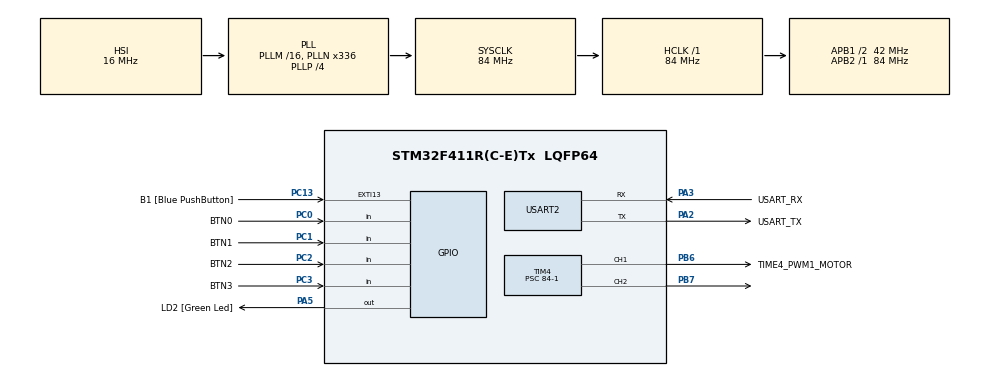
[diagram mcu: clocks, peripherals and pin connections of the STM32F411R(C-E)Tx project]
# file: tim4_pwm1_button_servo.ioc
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Mcu.Family=STM32F4
Mcu.Name=STM32F411R(C-E)Tx
Mcu.Package=LQFP64
NVIC.PriorityGroup=NVIC_PRIORITYGROUP_0
NVIC.TIM4_IRQn=true\:0\:0\:false\:false\:true\:true\:true\:true
PA13.GPIO_Label=TMS
PA13.Mode=Serial_Wire
PA13.Signal=SYS_JTMS-SWDIO
PA14.GPIO_Label=TCK
PA14.Mode=Serial_Wire
PA14.Signal=SYS_JTCK-SWCLK
PA2.GPIO_Label=USART_TX
PA2.Mode=Asynchronous
PA2.Signal=USART2_TX
PA3.GPIO_Label=USART_RX
PA3.Mode=Asynchronous
PA3.Signal=USART2_RX
PA5.GPIO_Label=LD2 [Green Led]
PA5.Signal=GPIO_Output
PB3.GPIO_Label=SWO
PB3.Signal=SYS_JTDO-SWO
PB6.GPIO_Label=TIME4_PWM1_MOTOR
PB6.Signal=S_TIM4_CH1
PB7.Signal=S_TIM4_CH2
PC0.GPIO_Label=BTN0
PC0.Signal=GPIO_Input
PC1.GPIO_Label=BTN1
PC1.Signal=GPIO_Input
PC13-ANTI_TAMP.GPIO_Label=B1 [Blue PushButton]
PC13-ANTI_TAMP.GPIO_ModeDefaultEXTI=GPIO_MODE_IT_FALLING
PC13-ANTI_TAMP.Signal=GPXTI13
PC14-OSC32_IN.Signal=RCC_OSC32_IN
PC15-OSC32_OUT.Signal=RCC_OSC32_OUT
PC2.GPIO_Label=BTN2
PC2.Signal=GPIO_Input
PC3.GPIO_Label=BTN3
PC3.Signal=GPIO_Input
PH0\ -\ OSC_IN.Signal=RCC_OSC_IN
PH1\ -\ OSC_OUT.Signal=RCC_OSC_OUT
ProjectManager.HeapSize=0x200
ProjectManager.StackSize=0x400
ProjectManager.TargetToolchain=STM32CubeIDE
RCC.48MHZClocksFreq_Value=84000000
RCC.AHBFreq_Value=84000000
RCC.APB1CLKDivider=RCC_HCLK_DIV2
RCC.APB1Freq_Value=42000000
RCC.APB1TimFreq_Value=84000000
RCC.APB2Freq_Value=84000000
RCC.APB2TimFreq_Value=84000000
RCC.CortexFreq_Value=84000000
RCC.FLatency-AdvancedSettings=FLASH_LATENCY_2
RCC.HCLKFreq_Value=84000000
RCC.HSE_VALUE=8000000
RCC.HSI_VALUE=16000000
RCC.LSE_VALUE=32768
RCC.PLLN=336
RCC.PLLP=RCC_PLLP_DIV4
RCC.SYSCLKFreq_VALUE=84000000
RCC.SYSCLKSource=RCC_SYSCLKSOURCE_PLLCLK
RCC.VCOOutputFreq_Value=336000000
SH.S_TIM4_CH1.0=TIM4_CH1,PWM Generation1 CH1
SH.S_TIM4_CH2.0=TIM4_CH2,PWM Generation2 CH2
TIM4.AutoReloadPreload=TIM_AUTORELOAD_PRELOAD_ENABLE
TIM4.Channel-PWM\ Generation1\ CH1=TIM_CHANNEL_1
TIM4.Channel-PWM\ Generation2\ CH2=TIM_CHANNEL_2
TIM4.Period=20000-1
TIM4.Prescaler=84-1
TIM4.Pulse-PWM\ Generation1\ CH1=0
USART2.VirtualMode=VM_ASYNC
board=NUCLEO-F411RE

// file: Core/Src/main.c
/* USER CODE BEGIN Header */
/**
  ******************************************************************************
  * @file           : main.c
  * @brief          : Main program body
  ******************************************************************************
  * @attention
  *
  * Copyright (c) 2025 STMicroelectronics.
  * All rights reserved.
  *
  * This software is licensed under terms that can be found in the LICENSE file
  * in the root directory of this software component.
  * If no LICENSE file comes with this software, it is provided AS-IS.
  *
  ******************************************************************************
  */
/* USER CODE END Header */
#include "main.h"

/* USER CODE BEGIN PD */
#ifdef __GNUC__
/* With GCC, small printf (option LD Linker->Libraries->Small printf
   set to 'Yes') calls __io_putchar() */
#define PUTCHAR_PROTOTYPE int __io_putchar(int ch)
#else
#define PUTCHAR_PROTOTYPE int fputc(int ch, FILE *f)
#endif /* __GNUC__ */
/* USER CODE END PD */

TIM_HandleTypeDef htim4;

UART_HandleTypeDef huart2;

/* USER CODE BEGIN PV */
volatile int time3SecFlag = 0;
volatile unsigned int time3SecCnt = 0;
volatile unsigned int time3Cnt = 0;
volatile int time3CntFlag = 1;
volatile int time3_100msFlag = 0;
unsigned long debounceDelay = 10;
unsigned long lastDebounceTime = 0;
/* USER CODE END PV */

void SystemClock_Config(void);
static void MX_GPIO_Init(void);
static void MX_USART2_UART_Init(void);
static void MX_TIM4_Init(void);
/* USER CODE BEGIN PFP */
int getKeyNum();
/* USER CODE END PFP */

int main(void)
{

  /* USER CODE BEGIN 1 */
	int pluse = 1000;
	int keyNum = 0;
  /* USER CODE END 1 */

  /* MCU Configuration--------------------------------------------------------*/

  /* Reset of all peripherals, Initializes the Flash interface and the Systick. */
  HAL_Init();

  /* Configure the system clock */
  SystemClock_Config();

  /* Initialize all configured peripherals */
  MX_GPIO_Init();
  MX_USART2_UART_Init();
  MX_TIM4_Init();
  /* USER CODE BEGIN 2 */
  if(HAL_TIM_Base_Start_IT(&htim4) != HAL_OK)
	  Error_Handler();
  if(HAL_TIM_PWM_Start(&htim4, TIM_CHANNEL_1) != HAL_OK)
	  Error_Handler();
  if(HAL_TIM_PWM_Start(&htim4, TIM_CHANNEL_2) != HAL_OK)
	  Error_Handler();
  printf("time4_pwm1_button_servo start!\r\n");
  lastDebounceTime = HAL_GetTick();
  /* USER CODE END 2 */

  /* Infinite loop */
  /* USER CODE BEGIN WHILE */
  while (1)
  {
	  if(time3SecFlag)
	  {
		  time3SecFlag = 0;
		  HAL_GPIO_TogglePin(LD2_GPIO_Port, LD2_Pin);
		  //printf("time3SecCnt : %d\r\n", time3SecCnt);
	  }

	  if((HAL_GetTick() - lastDebounceTime) > debounceDelay)
	  {
		  keyNum = getKeyNum();
		  lastDebounceTime = HAL_GetTick();
		  if(keyNum != 0)
		  {

			  printf("keyNum : %d\r\n", keyNum);
//			  if((pluse == 0 && keyNum == 1) || (pluse == 1000 && keyNum == 2))
//			 		continue;
//			  if((pluse == 0 && keyNum == 3) || (pluse == 1000 && keyNum == 4))
//			 		continue;

			  if(keyNum == 1)
			  {
				  pluse = 500;
			  }
			  else if(keyNum == 2)
			  {
				  pluse = 2500;
			  }
			  else if(keyNum == 3 && pluse > 0)
			  {
				  pluse -= 200;
			  }
			  else if(keyNum == 4 && pluse < 1000)
			  {
				  pluse += 200;
			  }
			  __HAL_TIM_SetCompare(&htim4,TIM_CHANNEL_2, (pluse-1)<=0?0:pluse-1);
			  printf("pluse : %d\r\n", pluse);
		  }
	  }

#if 0
	  if(time3_100msFlag)
	  {
		  time3_100msFlag = 0;
		  if(pluse < 1000)
			  pluse += 5;
		  else
			  pluse = 1;
		  __HAL_TIM_SetCompare(&htim4, TIM_CHANNEL_1, pluse); // pwm 값 바꿔주는 함수
	  }
#endif
//	  HAL_GPIO_WritePin(LD2_GPIO_Port, GPIO_PIN_5, HAL_GPIO_ReadPin(BTN3_GPIO_Port, BTN3_Pin));

    /* USER CODE END WHILE */

  }
}

void SystemClock_Config(void)
{
  RCC_OscInitTypeDef RCC_OscInitStruct = {0};
  RCC_ClkInitTypeDef RCC_ClkInitStruct = {0};

  /** Configure the main internal regulator output voltage
  */
  __HAL_RCC_PWR_CLK_ENABLE();
  __HAL_PWR_VOLTAGESCALING_CONFIG(PWR_REGULATOR_VOLTAGE_SCALE1);

  /** Initializes the RCC Oscillators according to the specified parameters
  * in the RCC_OscInitTypeDef structure.
  */
  RCC_OscInitStruct.OscillatorType = RCC_OSCILLATORTYPE_HSI;
  RCC_OscInitStruct.HSIState = RCC_HSI_ON;
  RCC_OscInitStruct.HSICalibrationValue = RCC_HSICALIBRATION_DEFAULT;
  RCC_OscInitStruct.PLL.PLLState = RCC_PLL_ON;
  RCC_OscInitStruct.PLL.PLLSource = RCC_PLLSOURCE_HSI;
  RCC_OscInitStruct.PLL.PLLM = 16;
  RCC_OscInitStruct.PLL.PLLN = 336;
  RCC_OscInitStruct.PLL.PLLP = RCC_PLLP_DIV4;
  RCC_OscInitStruct.PLL.PLLQ = 4;
  if (HAL_RCC_OscConfig(&RCC_OscInitStruct) != HAL_OK)
  {
    Error_Handler();
  }

  /** Initializes the CPU, AHB and APB buses clocks
  */
  RCC_ClkInitStruct.ClockType = RCC_CLOCKTYPE_HCLK|RCC_CLOCKTYPE_SYSCLK
                              |RCC_CLOCKTYPE_PCLK1|RCC_CLOCKTYPE_PCLK2;
  RCC_ClkInitStruct.SYSCLKSource = RCC_SYSCLKSOURCE_PLLCLK;
  RCC_ClkInitStruct.AHBCLKDivider = RCC_SYSCLK_DIV1;
  RCC_ClkInitStruct.APB1CLKDivider = RCC_HCLK_DIV2;
  RCC_ClkInitStruct.APB2CLKDivider = RCC_HCLK_DIV1;

  if (HAL_RCC_ClockConfig(&RCC_ClkInitStruct, FLASH_LATENCY_2) != HAL_OK)
  {
    Error_Handler();
  }
}

static void MX_TIM4_Init(void)
{

  TIM_MasterConfigTypeDef sMasterConfig = {0};
  TIM_OC_InitTypeDef sConfigOC = {0};

  htim4.Instance = TIM4;
  htim4.Init.Prescaler = 84-1;
  htim4.Init.CounterMode = TIM_COUNTERMODE_UP;
  htim4.Init.Period = 20000-1;
  htim4.Init.ClockDivision = TIM_CLOCKDIVISION_DIV1;
  htim4.Init.AutoReloadPreload = TIM_AUTORELOAD_PRELOAD_ENABLE;
  if (HAL_TIM_PWM_Init(&htim4) != HAL_OK)
  {
    Error_Handler();
  }
  sMasterConfig.MasterOutputTrigger = TIM_TRGO_RESET;
  sMasterConfig.MasterSlaveMode = TIM_MASTERSLAVEMODE_DISABLE;
  if (HAL_TIMEx_MasterConfigSynchronization(&htim4, &sMasterConfig) != HAL_OK)
  {
    Error_Handler();
  }
  sConfigOC.OCMode = TIM_OCMODE_PWM1;
  sConfigOC.Pulse = 0;
  sConfigOC.OCPolarity = TIM_OCPOLARITY_HIGH;
  sConfigOC.OCFastMode = TIM_OCFAST_DISABLE;
  if (HAL_TIM_PWM_ConfigChannel(&htim4, &sConfigOC, TIM_CHANNEL_1) != HAL_OK)
  {
    Error_Handler();
  }
  if (HAL_TIM_PWM_ConfigChannel(&htim4, &sConfigOC, TIM_CHANNEL_2) != HAL_OK)
  {
    Error_Handler();
  }
  HAL_TIM_MspPostInit(&htim4);

}

static void MX_USART2_UART_Init(void)
{

  huart2.Instance = USART2;
  huart2.Init.BaudRate = 115200;
  huart2.Init.WordLength = UART_WORDLENGTH_8B;
  huart2.Init.StopBits = UART_STOPBITS_1;
  huart2.Init.Parity = UART_PARITY_NONE;
  huart2.Init.Mode = UART_MODE_TX_RX;
  huart2.Init.HwFlowCtl = UART_HWCONTROL_NONE;
  huart2.Init.OverSampling = UART_OVERSAMPLING_16;
  if (HAL_UART_Init(&huart2) != HAL_OK)
  {
    Error_Handler();
  }

}

static void MX_GPIO_Init(void)
{
  GPIO_InitTypeDef GPIO_InitStruct = {0};

  /* GPIO Ports Clock Enable */
  __HAL_RCC_GPIOC_CLK_ENABLE();
  __HAL_RCC_GPIOH_CLK_ENABLE();
  __HAL_RCC_GPIOA_CLK_ENABLE();
  __HAL_RCC_GPIOB_CLK_ENABLE();

  /*Configure GPIO pin Output Level */
  HAL_GPIO_WritePin(LD2_GPIO_Port, LD2_Pin, GPIO_PIN_RESET);

  /*Configure GPIO pin : B1_Pin */
  GPIO_InitStruct.Pin = B1_Pin;
  GPIO_InitStruct.Mode = GPIO_MODE_IT_FALLING;
  GPIO_InitStruct.Pull = GPIO_NOPULL;
  HAL_GPIO_Init(B1_GPIO_Port, &GPIO_InitStruct);

  /*Configure GPIO pins : BTN0_Pin BTN1_Pin BTN2_Pin BTN3_Pin */
  GPIO_InitStruct.Pin = BTN0_Pin|BTN1_Pin|BTN2_Pin|BTN3_Pin;
  GPIO_InitStruct.Mode = GPIO_MODE_INPUT;
  GPIO_InitStruct.Pull = GPIO_NOPULL;
  HAL_GPIO_Init(GPIOC, &GPIO_InitStruct);

  /*Configure GPIO pin : LD2_Pin */
  GPIO_InitStruct.Pin = LD2_Pin;
  GPIO_InitStruct.Mode = GPIO_MODE_OUTPUT_PP;
  GPIO_InitStruct.Pull = GPIO_NOPULL;
  GPIO_InitStruct.Speed = GPIO_SPEED_FREQ_LOW;
  HAL_GPIO_Init(LD2_GPIO_Port, &GPIO_InitStruct);

}

/* USER CODE BEGIN 4 */
PUTCHAR_PROTOTYPE
{
  /* Place your implementation of fputc here */
  /* e.g. write a character to the USART6 and Loop until the end of transmission */
  HAL_UART_Transmit(&huart2, (uint8_t *)&ch, 1, 0xFFFF);

  return ch;
}
void HAL_TIM_PeriodElapsedCallback(TIM_HandleTypeDef *htim)
{
	if(htim->Instance == TIM4)
	{
		time3CntFlag = 1;
		time3Cnt++;
		if(!(time3Cnt%100))
		{
			time3_100msFlag = 1;
		}
		if(time3Cnt >= 1000) // 1ms * 1000 = 1Sec
		{
			time3SecCnt++;
			time3SecFlag = 1;
			time3Cnt = 0;
		}
	}
}

int getKeyNum()
{
	int buttonState = 0;
	static int btnOld[4] = {0,};
	for(int i = 0; i < 4; i++)
	{
		buttonState = HAL_GPIO_ReadPin(BTN0_GPIO_Port, BTN0_Pin<<i);
		if(buttonState != btnOld[i])
		{
			btnOld[i] = buttonState;
			if(buttonState)
				return i + 1;
		}
	}
	return 0;
}

/* USER CODE END 4 */

void Error_Handler(void)
{
  /* USER CODE BEGIN Error_Handler_Debug */
  /* User can add his own implementation to report the HAL error return state */
  __disable_irq();
  while (1)
  {
	  printf("Error_Handler()\r\n");
  }
  /* USER CODE END Error_Handler_Debug */
}
